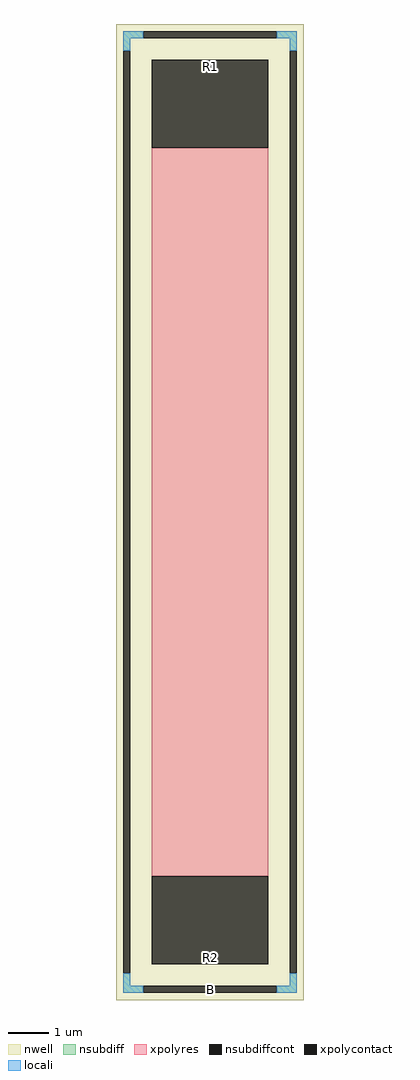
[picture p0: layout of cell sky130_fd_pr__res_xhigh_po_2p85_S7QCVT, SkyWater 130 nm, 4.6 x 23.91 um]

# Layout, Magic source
magic
tech sky130A
magscale 1 2
<< nwell >>
rect -460 -2391 460 2391
<< nsubdiff >>
rect -424 2321 -328 2355
rect 328 2321 424 2355
rect -424 2259 -390 2321
rect 390 2259 424 2321
rect -424 -2321 -390 -2259
rect 390 -2321 424 -2259
rect -424 -2355 -328 -2321
rect 328 -2355 424 -2321
<< nsubdiffcont >>
rect -328 2321 328 2355
rect -424 -2259 -390 2259
rect 390 -2259 424 2259
rect -328 -2355 328 -2321
<< xpolycontact >>
rect -285 1784 285 2216
rect -285 -2216 285 -1784
<< xpolyres >>
rect -285 -1784 285 1784
<< locali >>
rect -424 2321 -328 2355
rect 328 2321 424 2355
rect -424 2259 -390 2321
rect 390 2259 424 2321
rect -424 -2321 -390 -2259
rect 390 -2321 424 -2259
rect -424 -2355 -328 -2321
rect 328 -2355 424 -2321
<< labels >>
rlabel nsubdiffcont 0 -2338 0 -2338 0 B
port 1 nsew
rlabel xpolycontact 0 2181 0 2181 0 R1
port 2 nsew
rlabel xpolycontact 0 -2181 0 -2181 0 R2
port 3 nsew
<< properties >>
string FIXED_BBOX -407 -2338 407 2338
string gencell sky130_fd_pr__res_xhigh_po_2p85
string library sky130
string parameters w 2.850 l 18 m 1 nx 1 wmin 2.850 lmin 0.50 class resistor rho 2000 val 12.763k dummy 0 dw 0.0 term 188.2 sterm 0.0 caplen 0 wmax 2.850 guard 1 glc 1 grc 1 gtc 1 gbc 1 compatible {sky130_fd_pr__res_xhigh_po_0p35  sky130_fd_pr__res_xhigh_po_0p69 sky130_fd_pr__res_xhigh_po_1p41  sky130_fd_pr__res_xhigh_po_2p85 sky130_fd_pr__res_xhigh_po_5p73} snake 0 full_metal 1 n_guard 1 hv_guard 0 vias 0 viagb 0 viagt 0 viagl 0 viagr 0 doports 1
<< end >>
